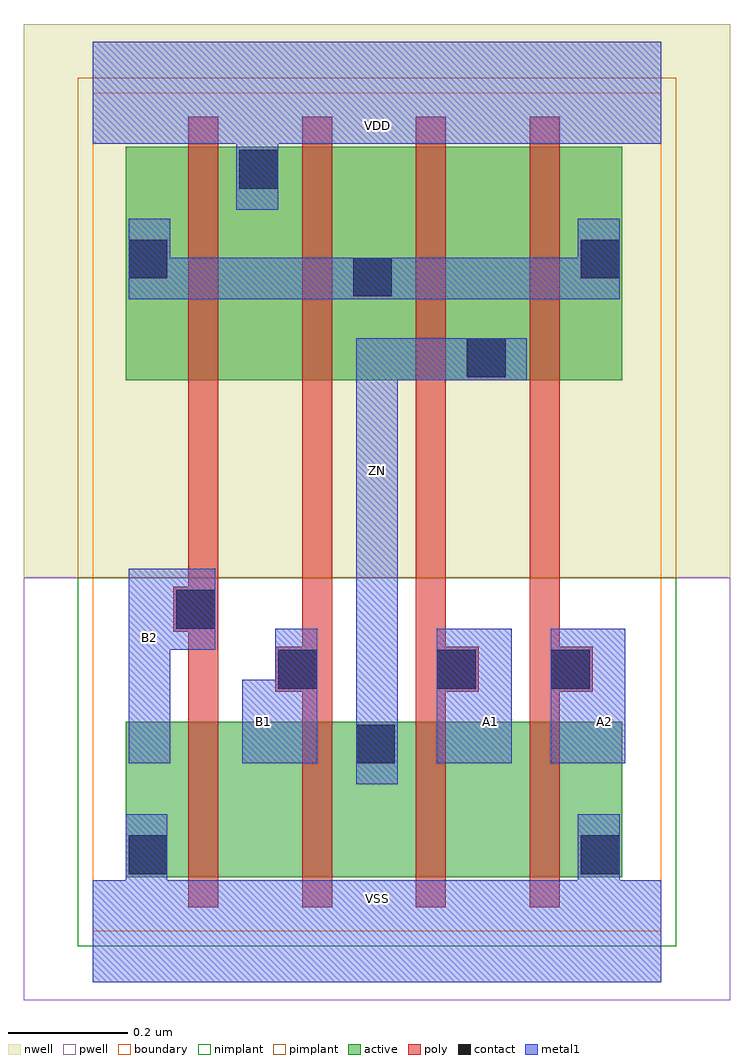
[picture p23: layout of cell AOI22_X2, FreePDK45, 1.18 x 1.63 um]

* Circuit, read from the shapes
.subckt AOI22_X2 A1 A2 B1 B2 VDD VSS ZN
M1 n1 B2 VSS VSUBS nfet w=0.26u l=0.05u
M2 ZN B1 n1 VSUBS nfet w=0.26u l=0.05u
M3 n2 A1 ZN VSUBS nfet w=0.26u l=0.05u
M4 VSS A2 n2 VSUBS nfet w=0.26u l=0.05u
M5 VDD B2 n3 n4 pfet w=0.39u l=0.05u
M6 n3 B1 VDD n4 pfet w=0.39u l=0.05u
M7 ZN A1 n3 n4 pfet w=0.39u l=0.05u
M8 n3 A2 ZN n4 pfet w=0.39u l=0.05u
.ends

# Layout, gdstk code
import gdstk
lib = gdstk.Library(unit=1e-6, precision=1e-10)
def R(c, l, rs):  # rectangles x0, y0, x1, y1
    for r in rs: c.add(gdstk.rectangle(r[:2], r[2:], *l))
def P(c, l, *ps):  # polygons
    for p in ps: c.add(gdstk.Polygon(p, *l))
active = (1, 0)
pwell = (2, 0)
nwell = (3, 0)
nimplant = (4, 0)
pimplant = (5, 0)
poly = (9, 0)
contact = (10, 0)
metal1 = (11, 0)
boundary = (235, 0)

aoi22_x2 = lib.new_cell('AOI22_X2')
R(aoi22_x2, active, [(0.055,0.09,0.885,0.35), (0.055,0.92,0.885,1.31)])
R(aoi22_x2, pwell, [(-0.115,-0.115,1.065,0.59)])
R(aoi22_x2, nwell, [(-0.115,0.59,1.065,1.515)])
R(aoi22_x2, nimplant, [(-0.025,-0.025,0.975,0.59)])
R(aoi22_x2, pimplant, [(-0.025,0.59,0.975,1.425)])
P(aoi22_x2, poly, [(0.135,0.5),(0.16,0.5),(0.16,0.04),(0.21,0.04),(0.21,1.36),(0.16,1.36),(0.16,0.575),(0.135,0.575)],
  [(0.305,0.4),(0.35,0.4),(0.35,0.04),(0.4,0.04),(0.4,1.36),(0.35,1.36),(0.35,0.475),(0.305,0.475)],
  [(0.54,0.04),(0.59,0.04),(0.59,0.4),(0.645,0.4),(0.645,0.475),(0.59,0.475),(0.59,1.36),(0.54,1.36)],
  [(0.73,0.04),(0.78,0.04),(0.78,0.4),(0.835,0.4),(0.835,0.475),(0.78,0.475),(0.78,1.36),(0.73,1.36)])
R(aoi22_x2, contact, [(0.06,0.095,0.125,0.16), (0.815,0.095,0.88,0.16), (0.44,0.28,0.505,0.345), (0.31,0.405,0.375,0.47), (0.575,0.405,0.64,0.47), (0.765,0.405,0.83,0.47), (0.14,0.505,0.205,0.57), (0.625,0.925,0.69,0.99), (0.435,1.06,0.5,1.125), (0.06,1.09,0.125,1.155), (0.815,1.09,0.88,1.155), (0.245,1.24,0.31,1.305)])
R(aoi22_x2, metal1, [(0.575,0.28,0.7,0.505), (0.765,0.28,0.89,0.505)])
P(aoi22_x2, metal1, [(0.06,0.28),(0.13,0.28),(0.13,0.47),(0.205,0.47),(0.205,0.605),(0.06,0.605)],
  [(0.25,0.28),(0.375,0.28),(0.375,0.505),(0.305,0.505),(0.305,0.42),(0.25,0.42)],
  [(0.44,0.245),(0.51,0.245),(0.51,0.92),(0.725,0.92),(0.725,0.99),(0.44,0.99)],
  [(0.06,1.055),(0.88,1.055),(0.88,1.19),(0.81,1.19),(0.81,1.125),(0.13,1.125),(0.13,1.19),(0.06,1.19)],
  [(0,-0.085),(0.95,-0.085),(0.95,0.085),(0.88,0.085),(0.88,0.195),(0.81,0.195),(0.81,0.085),(0.125,0.085),(0.125,0.195),(0.055,0.195),(0.055,0.085),(0,0.085)],
  [(0,1.315),(0.24,1.315),(0.24,1.205),(0.31,1.205),(0.31,1.315),(0.95,1.315),(0.95,1.485),(0,1.485)])
R(aoi22_x2, boundary, [(0,0,0.95,1.4)])
aoi22_x2.add(gdstk.Label('A1', (0.665,0.35), layer=11, texttype=0))
aoi22_x2.add(gdstk.Label('A2', (0.855,0.35), layer=11, texttype=0))
aoi22_x2.add(gdstk.Label('B1', (0.285,0.35), layer=11, texttype=0))
aoi22_x2.add(gdstk.Label('B2', (0.095,0.49), layer=11, texttype=0))
aoi22_x2.add(gdstk.Label('VDD', (0.475,1.345), layer=11, texttype=0))
aoi22_x2.add(gdstk.Label('VSS', (0.475,0.055), layer=11, texttype=0))
aoi22_x2.add(gdstk.Label('ZN', (0.475,0.77), layer=11, texttype=0))

lib.write_gds('AOI22_X2.gds')
